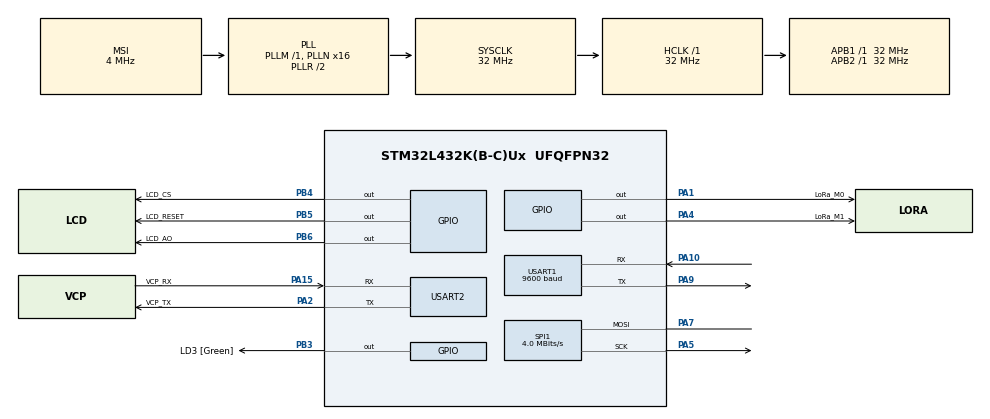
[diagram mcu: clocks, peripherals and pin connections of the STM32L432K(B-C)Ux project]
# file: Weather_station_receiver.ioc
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Mcu.Family=STM32L4
Mcu.Name=STM32L432K(B-C)Ux
Mcu.Package=UFQFPN32
NVIC.PriorityGroup=NVIC_PRIORITYGROUP_4
NVIC.SPI1_IRQn=true\:0\:0\:false\:false\:true\:true\:true\:true
NVIC.USART1_IRQn=true\:0\:0\:false\:false\:true\:true\:true\:true
PA0.GPIO_Label=MCO [High speed clock in]
PA0.Mode=HSE-External-Clock-Source-for-LittleOrca
PA0.Signal=RCC_CK_IN
PA1.GPIO_Label=LoRa_M0
PA1.GPIO_PuPd=GPIO_PULLUP
PA1.Signal=GPIO_Output
PA10.Mode=Asynchronous
PA10.Signal=USART1_RX
PA13\ (JTMS-SWDIO).GPIO_Label=SWDIO
PA13\ (JTMS-SWDIO).Mode=Serial_Wire
PA13\ (JTMS-SWDIO).Signal=SYS_JTMS-SWDIO
PA14\ (JTCK-SWCLK).GPIO_Label=SWCLK
PA14\ (JTCK-SWCLK).Mode=Serial_Wire
PA14\ (JTCK-SWCLK).Signal=SYS_JTCK-SWCLK
PA15\ (JTDI).GPIO_Label=VCP_RX
PA15\ (JTDI).Mode=Asynchronous
PA15\ (JTDI).Signal=USART2_RX
PA2.GPIO_Label=VCP_TX
PA2.Mode=Asynchronous
PA2.Signal=USART2_TX
PA4.GPIO_Label=LoRa_M1
PA4.GPIO_PuPd=GPIO_PULLUP
PA4.Signal=GPIO_Output
PA5.Mode=Simplex_Bidirectional_Master
PA5.Signal=SPI1_SCK
PA7.Mode=Simplex_Bidirectional_Master
PA7.Signal=SPI1_MOSI
PA9.Mode=Asynchronous
PA9.Signal=USART1_TX
PB3\ (JTDO-TRACESWO).GPIO_Label=LD3 [Green]
PB3\ (JTDO-TRACESWO).Signal=GPIO_Output
PB4\ (NJTRST).GPIO_Label=LCD_CS
PB4\ (NJTRST).Signal=GPIO_Output
PB5.GPIO_Label=LCD_RESET
PB5.Signal=GPIO_Output
PB6.GPIO_Label=LCD_AO
PB6.Signal=GPIO_Output
PC14-OSC32_IN\ (PC14).Mode=LSE-External-Oscillator
PC14-OSC32_IN\ (PC14).Signal=RCC_OSC32_IN
PC15-OSC32_OUT\ (PC15).Mode=LSE-External-Oscillator
PC15-OSC32_OUT\ (PC15).Signal=RCC_OSC32_OUT
ProjectManager.HeapSize=0x200
ProjectManager.StackSize=0x400
ProjectManager.TargetToolchain=STM32CubeIDE
RCC.AHBFreq_Value=32000000
RCC.APB1Freq_Value=32000000
RCC.APB1TimFreq_Value=32000000
RCC.APB2Freq_Value=32000000
RCC.APB2TimFreq_Value=32000000
RCC.CortexFreq_Value=32000000
RCC.HCLKFreq_Value=32000000
RCC.HSE_VALUE=8000000
RCC.HSI16_VALUE=16000000
RCC.HSI48_VALUE=48000000
RCC.HSI_VALUE=16000000
RCC.MSI_VALUE=4000000
RCC.PLLMUL=RCC_PLLMUL_4
RCC.PLLN=16
RCC.SYSCLKFreq_VALUE=32000000
RCC.SYSCLKSource=RCC_SYSCLKSOURCE_PLLCLK
RCC.VCOOutputFreq_Value=64000000
SPI1.BaudRatePrescaler=SPI_BAUDRATEPRESCALER_8
SPI1.CalculateBaudRate=4.0 MBits/s
SPI1.DataSize=SPI_DATASIZE_8BIT
SPI1.Direction=SPI_DIRECTION_1LINE
SPI1.Mode=SPI_MODE_MASTER
SPI1.VirtualType=VM_MASTER
USART1.BaudRate=9600
USART1.VirtualMode-Asynchronous=VM_ASYNC
USART2.VirtualMode-Asynchronous=VM_ASYNC
board=NUCLEO-L432KC

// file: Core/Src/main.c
/* USER CODE BEGIN Header */
/**
 ******************************************************************************
 * @file           : main.c
 * @brief          : Main program body
 ******************************************************************************
 * @attention
 *
 * Copyright (c) 2023 STMicroelectronics.
 * All rights reserved.
 *
 * This software is licensed under terms that can be found in the LICENSE file
 * in the root directory of this software component.
 * If no LICENSE file comes with this software, it is provided AS-IS.
 *
 ******************************************************************************
 */
/* USER CODE END Header */
#include "main.h"

/* USER CODE BEGIN Includes */
#include <string.h>
#include <stdio.h>
#include <stdbool.h>
#include "sx126x_lora_hat.h"
#include "st7735.h"
#include "fonts.h"
#include "testimg.h"

/* USER CODE END Includes */

/* USER CODE BEGIN PD */
#define MAX_ARRAY_SIZE 400
/* USER CODE END PD */

SPI_HandleTypeDef hspi1;

UART_HandleTypeDef huart1;
UART_HandleTypeDef huart2;

/* USER CODE BEGIN PV */

uint8_t init_cplt_flag = ERROR;
uint8_t over_flag = ERROR;
uint8_t rece_buff;
uint8_t rece_count = 3;
//uint8_t buffer[100]="\0";
uint8_t buffer[MAX_ARRAY_SIZE]={"\0"};
bool transmitted = false;
bool received = false;
bool loop_while = false;

/* USER CODE END PV */

void SystemClock_Config(void);
static void MX_GPIO_Init(void);
static void MX_USART2_UART_Init(void);
static void MX_SPI1_Init(void);
static void MX_USART1_UART_Init(void);

/* USER CODE BEGIN 0 */
void init() {
	ST7735_Init();
	const char ready[] = "Ready!\r\n";
	HAL_UART_Transmit(&huart2, (uint8_t*)ready, sizeof(ready)-1, HAL_MAX_DELAY);
}
void loop() {
	ST7735_FillScreen(ST7735_BLACK);
	for(int x = 0; x < ST7735_WIDTH; x++) {
		ST7735_DrawPixel(x, 0, ST7735_RED);
		ST7735_DrawPixel(x, ST7735_HEIGHT-1, ST7735_RED);
	}
	for(int y = 0; y < ST7735_HEIGHT; y++) {
		ST7735_DrawPixel(0, y, ST7735_RED);
		ST7735_DrawPixel(ST7735_WIDTH-1, y, ST7735_RED);
	}
}

/* USER CODE END 0 */

int main(void)
{

	/* MCU Configuration--------------------------------------------------------*/

	/* Reset of all peripherals, Initializes the Flash interface and the Systick. */
	HAL_Init();

	/* Configure the system clock */
	SystemClock_Config();

	/* Initialize all configured peripherals */
	MX_GPIO_Init();
	MX_USART2_UART_Init();
	MX_SPI1_Init();
	MX_USART1_UART_Init();
	/* USER CODE BEGIN 2 */

	HAL_Delay(1000);
	while(ERROR == cfg_sx126x_mode(TRANSPARENT_MODE)){
		HAL_Delay(500);
	}
	HAL_Delay(100);
	//HAL_UART_Receive_IT(&huart1,(uint8_t *)&buffer,9);
	HAL_UART_Receive_IT(&huart1,(uint8_t *)&buffer,MAX_ARRAY_SIZE-1);
	/* USER CODE END 2 */

	/* Infinite loop */
	/* USER CODE BEGIN WHILE */
	init();
	ST7735_FillScreen(ST7735_BLACK);
	while (1)
	{
		/*loop();
		ST7735_WriteString(2, 2+(2*18), "TEMP: 12C", Font_11x18, ST7735_RED, ST7735_BLACK);
		ST7735_WriteString(2, 2+(3*18), "HUM: 50%", Font_11x18, ST7735_RED, ST7735_BLACK);
		ST7735_WriteString(2, 3+(4*18), "PRES: 50PSI", Font_11x18, ST7735_RED, ST7735_BLACK);*/
		if(received){
			uint8_t read_temp[4] = "\0";
			uint8_t read_hum[4] = "\0";
			uint8_t built_message[20] = "\0";
			memcpy(read_temp,&buffer[0],3);
			memcpy(read_hum,&buffer[4],3);
			sprintf((char*)built_message,"TEMP:%sC",(char *)read_temp);
			ST7735_WriteString(2, 2+(2*18), (char*)built_message, Font_11x18, ST7735_RED, ST7735_YELLOW);
			sprintf((char*)built_message,"HUM:%s%%",(char *)read_hum);
			ST7735_WriteString(2, 2+(4*18), (char*)built_message, Font_11x18, ST7735_RED, ST7735_YELLOW);
			HAL_UART_Transmit(&huart2,buffer,strlen((const char *)buffer),HAL_MAX_DELAY);
			//ST7735_WriteString(2, 2+(1*18), (char*)buffer, Font_11x18, ST7735_RED, ST7735_YELLOW);
			//HAL_UART_Receive_IT(&huart1,(uint8_t *)&buffer,9);
			HAL_UART_Receive_IT(&huart1,(uint8_t *)&buffer,MAX_ARRAY_SIZE-1);

			received = false;
		}
		if(SUCCESS == over_flag){
			HAL_UART_Transmit_IT(&huart2,buffer,strlen((const char *)buffer));
			over_flag = ERROR;
			rece_count = 0;
			//HAL_UART_Receive_IT(&huart1,(uint8_t *)&rece_buff,1);
		}
		//HAL_Delay(500);

		/* USER CODE END WHILE */

	}
}

void SystemClock_Config(void)
{
	RCC_OscInitTypeDef RCC_OscInitStruct = {0};
	RCC_ClkInitTypeDef RCC_ClkInitStruct = {0};

	/** Configure the main internal regulator output voltage
	 */
	if (HAL_PWREx_ControlVoltageScaling(PWR_REGULATOR_VOLTAGE_SCALE1) != HAL_OK)
	{
		Error_Handler();
	}

	/** Configure LSE Drive Capability
	 */
	HAL_PWR_EnableBkUpAccess();
	__HAL_RCC_LSEDRIVE_CONFIG(RCC_LSEDRIVE_LOW);

	/** Initializes the RCC Oscillators according to the specified parameters
	 * in the RCC_OscInitTypeDef structure.
	 */
	RCC_OscInitStruct.OscillatorType = RCC_OSCILLATORTYPE_LSE|RCC_OSCILLATORTYPE_MSI;
	RCC_OscInitStruct.LSEState = RCC_LSE_ON;
	RCC_OscInitStruct.MSIState = RCC_MSI_ON;
	RCC_OscInitStruct.MSICalibrationValue = 0;
	RCC_OscInitStruct.MSIClockRange = RCC_MSIRANGE_6;
	RCC_OscInitStruct.PLL.PLLState = RCC_PLL_ON;
	RCC_OscInitStruct.PLL.PLLSource = RCC_PLLSOURCE_MSI;
	RCC_OscInitStruct.PLL.PLLM = 1;
	RCC_OscInitStruct.PLL.PLLN = 16;
	RCC_OscInitStruct.PLL.PLLP = RCC_PLLP_DIV7;
	RCC_OscInitStruct.PLL.PLLQ = RCC_PLLQ_DIV2;
	RCC_OscInitStruct.PLL.PLLR = RCC_PLLR_DIV2;
	if (HAL_RCC_OscConfig(&RCC_OscInitStruct) != HAL_OK)
	{
		Error_Handler();
	}

	/** Initializes the CPU, AHB and APB buses clocks
	 */
	RCC_ClkInitStruct.ClockType = RCC_CLOCKTYPE_HCLK|RCC_CLOCKTYPE_SYSCLK
			|RCC_CLOCKTYPE_PCLK1|RCC_CLOCKTYPE_PCLK2;
	RCC_ClkInitStruct.SYSCLKSource = RCC_SYSCLKSOURCE_PLLCLK;
	RCC_ClkInitStruct.AHBCLKDivider = RCC_SYSCLK_DIV1;
	RCC_ClkInitStruct.APB1CLKDivider = RCC_HCLK_DIV1;
	RCC_ClkInitStruct.APB2CLKDivider = RCC_HCLK_DIV1;

	if (HAL_RCC_ClockConfig(&RCC_ClkInitStruct, FLASH_LATENCY_1) != HAL_OK)
	{
		Error_Handler();
	}

	/** Enable MSI Auto calibration
	 */
	HAL_RCCEx_EnableMSIPLLMode();
}

static void MX_SPI1_Init(void)
{

	/* SPI1 parameter configuration*/
	hspi1.Instance = SPI1;
	hspi1.Init.Mode = SPI_MODE_MASTER;
	hspi1.Init.Direction = SPI_DIRECTION_1LINE;
	hspi1.Init.DataSize = SPI_DATASIZE_8BIT;
	hspi1.Init.CLKPolarity = SPI_POLARITY_LOW;
	hspi1.Init.CLKPhase = SPI_PHASE_1EDGE;
	hspi1.Init.NSS = SPI_NSS_SOFT;
	hspi1.Init.BaudRatePrescaler = SPI_BAUDRATEPRESCALER_8;
	hspi1.Init.FirstBit = SPI_FIRSTBIT_MSB;
	hspi1.Init.TIMode = SPI_TIMODE_DISABLE;
	hspi1.Init.CRCCalculation = SPI_CRCCALCULATION_DISABLE;
	hspi1.Init.CRCPolynomial = 7;
	hspi1.Init.CRCLength = SPI_CRC_LENGTH_DATASIZE;
	hspi1.Init.NSSPMode = SPI_NSS_PULSE_ENABLE;
	if (HAL_SPI_Init(&hspi1) != HAL_OK)
	{
		Error_Handler();
	}

}

static void MX_USART1_UART_Init(void)
{

	huart1.Instance = USART1;
	huart1.Init.BaudRate = 9600;
	huart1.Init.WordLength = UART_WORDLENGTH_8B;
	huart1.Init.StopBits = UART_STOPBITS_1;
	huart1.Init.Parity = UART_PARITY_NONE;
	huart1.Init.Mode = UART_MODE_TX_RX;
	huart1.Init.HwFlowCtl = UART_HWCONTROL_NONE;
	huart1.Init.OverSampling = UART_OVERSAMPLING_16;
	huart1.Init.OneBitSampling = UART_ONE_BIT_SAMPLE_DISABLE;
	huart1.AdvancedInit.AdvFeatureInit = UART_ADVFEATURE_NO_INIT;
	if (HAL_UART_Init(&huart1) != HAL_OK)
	{
		Error_Handler();
	}

}

static void MX_USART2_UART_Init(void)
{

	huart2.Instance = USART2;
	huart2.Init.BaudRate = 115200;
	huart2.Init.WordLength = UART_WORDLENGTH_8B;
	huart2.Init.StopBits = UART_STOPBITS_1;
	huart2.Init.Parity = UART_PARITY_NONE;
	huart2.Init.Mode = UART_MODE_TX_RX;
	huart2.Init.HwFlowCtl = UART_HWCONTROL_NONE;
	huart2.Init.OverSampling = UART_OVERSAMPLING_16;
	huart2.Init.OneBitSampling = UART_ONE_BIT_SAMPLE_DISABLE;
	huart2.AdvancedInit.AdvFeatureInit = UART_ADVFEATURE_NO_INIT;
	if (HAL_UART_Init(&huart2) != HAL_OK)
	{
		Error_Handler();
	}

}

static void MX_GPIO_Init(void)
{
	GPIO_InitTypeDef GPIO_InitStruct = {0};

	/* GPIO Ports Clock Enable */
	__HAL_RCC_GPIOC_CLK_ENABLE();
	__HAL_RCC_GPIOA_CLK_ENABLE();
	__HAL_RCC_GPIOB_CLK_ENABLE();

	/*Configure GPIO pin Output Level */
	HAL_GPIO_WritePin(GPIOA, LoRa_M0_Pin|LoRa_M1_Pin, GPIO_PIN_RESET);

	/*Configure GPIO pin Output Level */
	HAL_GPIO_WritePin(GPIOB, LD3_Pin|LCD_CS_Pin|LCD_RESET_Pin|LCD_AO_Pin, GPIO_PIN_RESET);

	/*Configure GPIO pins : LoRa_M0_Pin LoRa_M1_Pin */
	GPIO_InitStruct.Pin = LoRa_M0_Pin|LoRa_M1_Pin;
	GPIO_InitStruct.Mode = GPIO_MODE_OUTPUT_PP;
	GPIO_InitStruct.Pull = GPIO_PULLUP;
	GPIO_InitStruct.Speed = GPIO_SPEED_FREQ_LOW;
	HAL_GPIO_Init(GPIOA, &GPIO_InitStruct);

	/*Configure GPIO pins : LD3_Pin LCD_CS_Pin LCD_RESET_Pin LCD_AO_Pin */
	GPIO_InitStruct.Pin = LD3_Pin|LCD_CS_Pin|LCD_RESET_Pin|LCD_AO_Pin;
	GPIO_InitStruct.Mode = GPIO_MODE_OUTPUT_PP;
	GPIO_InitStruct.Pull = GPIO_NOPULL;
	GPIO_InitStruct.Speed = GPIO_SPEED_FREQ_LOW;
	HAL_GPIO_Init(GPIOB, &GPIO_InitStruct);

}

/* USER CODE BEGIN 4 */
/**
 * @brief Tx Transfer completed callback.
 * @param huart UART handle.
 * @retval None
 */
void HAL_UART_TxCpltCallback(UART_HandleTypeDef *huart)
{
	if(huart == &huart1){
		transmitted = true;
		/*bool flg_huart1_completed= false;
		bool flg_huart2_completed = false;
		if(huart == &huart1){
			flg_huart1_completed = true;
		}
		else{
			flg_huart2_completed = false;
		}*/
	}
}

/**
 * @brief  Rx Transfer completed callback.
 * @param  huart UART handle.
 * @retval None
 */
void HAL_UART_RxCpltCallback(UART_HandleTypeDef *huart)
{
	if (huart == &huart1){
		if( SUCCESS == init_cplt_flag){
			/*buffer[rece_count++] = rece_buff;

			if(0x0A == rece_buff){
				over_flag = SUCCESS;
				buffer[rece_count] = 0;
			}else{
				//HAL_UART_Receive_IT(&huart1,(uint8_t *)&rece_buff,1);
			}*/
			received = true;
		}

	}

	/*bool flg_huart1_completed= false;
	bool flg_huart2_completed = false;
	if(huart == &huart1){
		flg_huart1_completed = true;
	}
	else{
		flg_huart2_completed = false;
	}*/
}

/* USER CODE END 4 */

void Error_Handler(void)
{
	__disable_irq();
	while (1)
	{
	}
}
